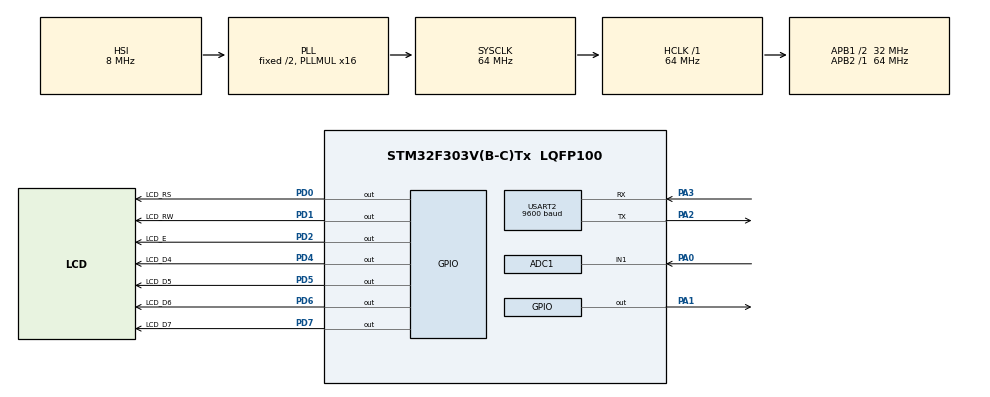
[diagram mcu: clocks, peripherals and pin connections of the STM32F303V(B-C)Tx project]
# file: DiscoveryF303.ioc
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ADC1.Channel-25\#ChannelRegularConversion=ADC_CHANNEL_1
ADC1.DMAContinuousRequests=ENABLE
ADC1.EOCSelection=ADC_EOC_SINGLE_CONV
ADC1.EnableInjectedConversion=DISABLE
ADC1.EnableRegularConversion=ENABLE
ADC1.ExternalTrigConv=ADC_EXTERNALTRIGCONV_T2_TRGO
ADC1.NbrOfConversion=1
ADC1.NbrOfConversionFlag=1
ADC1.Offset-25\#ChannelRegularConversion=0
ADC1.OffsetNumber-25\#ChannelRegularConversion=ADC_OFFSET_NONE
ADC1.Rank-25\#ChannelRegularConversion=1
ADC1.SamplingTime-25\#ChannelRegularConversion=ADC_SAMPLETIME_19CYCLES_5
ADC1.master=1
Dma.ADC1.0.Direction=DMA_PERIPH_TO_MEMORY
Dma.ADC1.0.Instance=DMA1_Channel1
Dma.ADC1.0.MemDataAlignment=DMA_MDATAALIGN_HALFWORD
Dma.ADC1.0.MemInc=DMA_MINC_ENABLE
Dma.ADC1.0.Mode=DMA_CIRCULAR
Dma.ADC1.0.PeriphDataAlignment=DMA_PDATAALIGN_HALFWORD
Dma.ADC1.0.PeriphInc=DMA_PINC_DISABLE
Dma.ADC1.0.Priority=DMA_PRIORITY_LOW
Dma.Request0=ADC1
Dma.Request1=USART2_TX
Dma.USART2_TX.1.Direction=DMA_MEMORY_TO_PERIPH
Dma.USART2_TX.1.Instance=DMA1_Channel7
Dma.USART2_TX.1.MemDataAlignment=DMA_MDATAALIGN_BYTE
Dma.USART2_TX.1.MemInc=DMA_MINC_ENABLE
Dma.USART2_TX.1.Mode=DMA_NORMAL
Dma.USART2_TX.1.PeriphDataAlignment=DMA_PDATAALIGN_BYTE
Dma.USART2_TX.1.PeriphInc=DMA_PINC_DISABLE
Dma.USART2_TX.1.Priority=DMA_PRIORITY_LOW
Mcu.Family=STM32F3
Mcu.Name=STM32F303V(B-C)Tx
Mcu.Package=LQFP100
NVIC.ADC1_2_IRQn=true\:0\:0\:false\:false\:true\:true\:true
NVIC.DMA1_Channel1_IRQn=true\:0\:0\:false\:false\:true\:false\:true
NVIC.DMA1_Channel7_IRQn=true\:0\:0\:false\:false\:true\:false\:true
NVIC.PriorityGroup=NVIC_PRIORITYGROUP_4
NVIC.RCC_IRQn=true\:0\:0\:false\:false\:true\:true\:false
NVIC.TIM1_BRK_TIM15_IRQn=true\:0\:0\:false\:false\:true\:true\:true
NVIC.TIM1_CC_IRQn=true\:0\:0\:false\:false\:true\:true\:true
NVIC.TIM1_TRG_COM_TIM17_IRQn=true\:0\:0\:false\:false\:true\:true\:true
NVIC.TIM1_UP_TIM16_IRQn=true\:0\:0\:false\:false\:true\:true\:true
NVIC.TIM2_IRQn=true\:0\:0\:false\:false\:true\:true\:true
PA0.Mode=IN1-Single-Ended
PA0.Signal=ADC1_IN1
PA1.Signal=GPIO_Output
PA13.Mode=Serial_Wire
PA13.Signal=SYS_JTMS-SWDIO
PA14.Mode=Serial_Wire
PA14.Signal=SYS_JTCK-SWCLK
PA2.Mode=Asynchronous
PA2.Signal=USART2_TX
PA3.Mode=Asynchronous
PA3.Signal=USART2_RX
PD0.GPIO_Label=LCD_RS
PD0.Signal=GPIO_Output
PD1.GPIO_Label=LCD_RW
PD1.Signal=GPIO_Output
PD2.GPIO_Label=LCD_E
PD2.Signal=GPIO_Output
PD4.GPIO_Label=LCD_D4
PD4.Signal=GPIO_Output
PD5.GPIO_Label=LCD_D5
PD5.Signal=GPIO_Output
PD6.GPIO_Label=LCD_D6
PD6.Signal=GPIO_Output
PD7.GPIO_Label=LCD_D7
PD7.Signal=GPIO_Output
ProjectManager.HeapSize=0x200
ProjectManager.StackSize=0x400
ProjectManager.TargetToolchain=STM32CubeIDE
RCC.AHBFreq_Value=64000000
RCC.APB1CLKDivider=RCC_HCLK_DIV2
RCC.APB1Freq_Value=32000000
RCC.APB1TimFreq_Value=64000000
RCC.APB2Freq_Value=64000000
RCC.APB2TimFreq_Value=64000000
RCC.CortexFreq_Value=64000000
RCC.HCLKFreq_Value=64000000
RCC.HSE_VALUE=8000000
RCC.HSI_VALUE=8000000
RCC.LSE_VALUE=32768
RCC.PLLMUL=RCC_PLL_MUL16
RCC.SYSCLKFreq_VALUE=64000000
RCC.SYSCLKSourceVirtual=RCC_SYSCLKSOURCE_PLLCLK
RCC.USBFreq_Value=64000000
TIM1.Period=1
TIM1.Prescaler=4000
TIM2.Period=1
TIM2.Prescaler=624
TIM2.TIM_MasterOutputTrigger=TIM_TRGO_UPDATE
USART2.BaudRate=9600
USART2.VirtualMode-Asynchronous=VM_ASYNC
VP_TIM1_VS_ClockSourceINT.Mode=Internal
VP_TIM2_VS_ClockSourceINT.Mode=Internal
board=STM32F3DISCOVERY

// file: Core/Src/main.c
/* USER CODE BEGIN Header */
/**
  ******************************************************************************
  * @file           : main.c
  * @brief          : Main program body
  ******************************************************************************
  * @attention
  *
  * <h2><center>&copy; Copyright (c) 2020 STMicroelectronics.
  * All rights reserved.</center></h2>
  *
  * This software component is licensed by ST under BSD 3-Clause license,
  * the "License"; You may not use this file except in compliance with the
  * License. You may obtain a copy of the License at:
  *                        opensource.org/licenses/BSD-3-Clause
  *
  ******************************************************************************
  */
/* USER CODE END Header */

#include "main.h"
#include "adc.h"
#include "dma.h"
#include "tim.h"
#include "usart.h"
#include "gpio.h"

/* USER CODE BEGIN Includes */
#include "fft.h"
#include "math.h"
#include "samples.h"
#include "lcd.h"
#include "string.h"
#include "stdlib.h"

/* USER CODE END Includes */

void SystemClock_Config(void);

/* USER CODE BEGIN 0 */

uint16_t adcBuf[BUFFER_SIZE];
uint16_t adcStore[BUFFER_SIZE];
volatile _Bool bufferFull;
volatile _Bool isCalculating;

void HAL_ADC_ConvCpltCallback(ADC_HandleTypeDef* hadc)
{
	if (hadc->Instance == ADC1 && !isCalculating && !bufferFull)
	{
		for (int i=0; i <BUFFER_SIZE; i++)
		{
			samples[i] = adcBuf[i];
			adcStore[i] = adcBuf[i];
			imaginary[i]=0;
		}
		bufferFull = 1;
	}

}

void HAL_TIM_PeriodElapsedCallback(TIM_HandleTypeDef *htim)
{
	if (htim->Instance == TIM1)
	{
		//HAL_GPIO_TogglePin(GPIOA, GPIO_PIN_1);
	}
	else if (htim->Instance == TIM2)
	{
		HAL_GPIO_TogglePin(GPIOA, GPIO_PIN_1);
	}
}

static float GetFrequency()
{
	uint16_t min=samples[0];
	uint16_t max=samples[0];
	for (int i=1; i < BUFFER_SIZE; i++)
	{
		if (samples[i]<min)
		{
			min = samples[i];
		}
		if (samples[i]>max)
		{
			max = samples[i];
		}
	}
	uint16_t sampleAmpl = max-min;
	if (sampleAmpl <200)
	{
		return 0;
	}

	 FFT(samples, imaginary, BUFFER_SIZE , 11, FT_DIRECT); // вычисляем прямое БПФ

	 float frequencySampl = 51200/2;
	 float frequencyStep = frequencySampl / BUFFER_SIZE;

	 float maxAmp=0;
	 int index = 0;
	 for (int i=1; i < BUFFER_SIZE/2; i++)
	 {
		 float ampl = sqrt(samples[i]*samples[i]
				+ imaginary[0]*imaginary[0]);
		 float frequency = i * frequencyStep;

		 if (ampl > maxAmp && frequency > 1500 && frequency < 6000)
		 {
			 maxAmp=ampl;
			 index = i;
		 }
		 samples[i]=ampl;
	 }

	 float frequencyMax = index * frequencyStep;
	 return frequencyMax;
}
char str[BUFFER_SIZE*6];

static void PrintSamples()
{
  strcpy(str, "");
  for (int i=0; i<BUFFER_SIZE; i++)
  {
	  char fstr[5];
	  itoa((int)samples[i], fstr, 10);
	  strcat(str, fstr);
	  strcat(str,", ");
  }
  HAL_UART_Transmit(&huart2,(uint8_t *)str, strlen(str), HAL_MAX_DELAY);
}

static void PrintAdc()
{
  strcpy(str, "");
  for (int i=0; i<BUFFER_SIZE; i++)
  {
	  char fstr[5];
	  itoa((int)adcStore[i], fstr, 10);
	  strcat(str, fstr);
	  strcat(str,", ");
  }
  HAL_UART_Transmit(&huart2, (uint8_t *)str, strlen(str), HAL_MAX_DELAY);
}

float prevFreq;

static void DisplayFreq(Lcd_HandleTypeDef* lcd,float freq)
{
	//Lcd_clear(lcd);
	Lcd_cursor(lcd, 0,0);
	Lcd_string(lcd, "Frequency:      ");

	if (freq >0)
	{
		/*if (freq <1500)
		{
			PrintAdc();
			PrintSamples();
		}*/
		Lcd_cursor(lcd, 1,0);
		Lcd_int(lcd, (int)freq);
	}
	else
	{

		Lcd_cursor(lcd, 1,0);
		Lcd_string(lcd, "0    ");
	}
}
uint16_t failCount;
/* USER CODE END 0 */

int main(void)
{

  /* MCU Configuration--------------------------------------------------------*/

  /* Reset of all peripherals, Initializes the Flash interface and the Systick. */
  HAL_Init();

  /* Configure the system clock */
  SystemClock_Config();

  /* Initialize all configured peripherals */
  MX_GPIO_Init();
  MX_DMA_Init();
  MX_ADC1_Init();
  MX_TIM2_Init();
  MX_TIM1_Init();
  MX_USART2_UART_Init();

  /* Infinite loop */
  /* USER CODE BEGIN WHILE */

  Lcd_PortType ports[] = {
		  LCD_D4_GPIO_Port, LCD_D5_GPIO_Port, LCD_D6_GPIO_Port, LCD_D7_GPIO_Port
   };

   Lcd_PinType pins[] = {LCD_D4_Pin, LCD_D5_Pin, LCD_D6_Pin, LCD_D7_Pin};

   Lcd_HandleTypeDef lcd = Lcd_create(ports, pins, LCD_RS_GPIO_Port, LCD_RS_Pin, LCD_E_GPIO_Port, LCD_E_Pin, LCD_4_BIT_MODE);

   HAL_TIM_Base_Start_IT(&htim1);
HAL_TIM_Base_Start_IT(&htim2);
  HAL_ADC_Start_DMA(&hadc1, (uint32_t*)adcBuf, BUFFER_SIZE);

  while (1)
  {
	  if (bufferFull)
	  {
		  isCalculating =1;
		  float freq = GetFrequency();

		  if ((abs(prevFreq-freq))/prevFreq <0.1 || prevFreq == 0 || freq == 0|| failCount>3)
		  {
		  DisplayFreq(&lcd, freq);
		  prevFreq = freq;
		  failCount =0;
		  }
		  else
		  {
			  failCount++;
		  }

	  	  isCalculating =0;
	  	  bufferFull = 0;
	  	  //HAL_Delay(200);
	  }

    /* USER CODE END WHILE */

  }
}

void SystemClock_Config(void)
{
  RCC_OscInitTypeDef RCC_OscInitStruct = {0};
  RCC_ClkInitTypeDef RCC_ClkInitStruct = {0};
  RCC_PeriphCLKInitTypeDef PeriphClkInit = {0};

  /** Initializes the CPU, AHB and APB busses clocks
  */
  RCC_OscInitStruct.OscillatorType = RCC_OSCILLATORTYPE_HSI;
  RCC_OscInitStruct.HSIState = RCC_HSI_ON;
  RCC_OscInitStruct.HSICalibrationValue = RCC_HSICALIBRATION_DEFAULT;
  RCC_OscInitStruct.PLL.PLLState = RCC_PLL_ON;
  RCC_OscInitStruct.PLL.PLLSource = RCC_PLLSOURCE_HSI;
  RCC_OscInitStruct.PLL.PLLMUL = RCC_PLL_MUL16;
  if (HAL_RCC_OscConfig(&RCC_OscInitStruct) != HAL_OK)
  {
    Error_Handler();
  }
  /** Initializes the CPU, AHB and APB busses clocks
  */
  RCC_ClkInitStruct.ClockType = RCC_CLOCKTYPE_HCLK|RCC_CLOCKTYPE_SYSCLK
                              |RCC_CLOCKTYPE_PCLK1|RCC_CLOCKTYPE_PCLK2;
  RCC_ClkInitStruct.SYSCLKSource = RCC_SYSCLKSOURCE_PLLCLK;
  RCC_ClkInitStruct.AHBCLKDivider = RCC_SYSCLK_DIV1;
  RCC_ClkInitStruct.APB1CLKDivider = RCC_HCLK_DIV2;
  RCC_ClkInitStruct.APB2CLKDivider = RCC_HCLK_DIV1;

  if (HAL_RCC_ClockConfig(&RCC_ClkInitStruct, FLASH_LATENCY_2) != HAL_OK)
  {
    Error_Handler();
  }
  PeriphClkInit.PeriphClockSelection = RCC_PERIPHCLK_USART2|RCC_PERIPHCLK_TIM1
                              |RCC_PERIPHCLK_ADC12;
  PeriphClkInit.Usart2ClockSelection = RCC_USART2CLKSOURCE_PCLK1;
  PeriphClkInit.Adc12ClockSelection = RCC_ADC12PLLCLK_DIV1;
  PeriphClkInit.Tim1ClockSelection = RCC_TIM1CLK_HCLK;
  if (HAL_RCCEx_PeriphCLKConfig(&PeriphClkInit) != HAL_OK)
  {
    Error_Handler();
  }
}

void Error_Handler(void)
{
}

/************************ (C) COPYRIGHT STMicroelectronics *****END OF FILE****/
